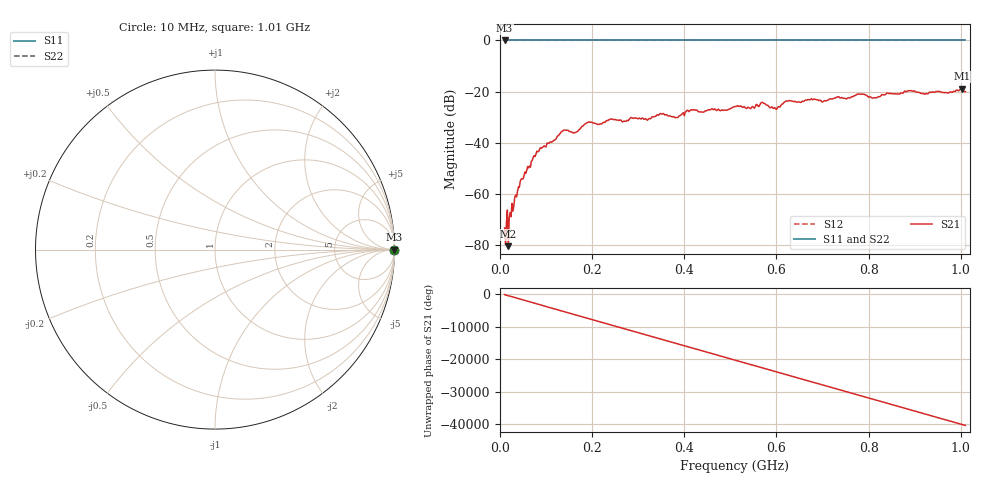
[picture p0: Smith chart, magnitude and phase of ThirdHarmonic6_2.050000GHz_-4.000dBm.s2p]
! 8/17/2025 12:34:28 AM
! C:\ANRITSUVNA\TEMP\TEMP.S2P
! CHANNEL.1
! TR.MEASUREMENT
! RAW.DATA
! RF.CORRECTION.OFF
! AVERAGING.OFF
! IF.BANDWIDTH: 5KHZ
! SWEEPTYPE:  FREQ.SWEEP(Linear)
! Reference Plane Port Info
! PORT:  PORT1  PORT2
! DISTANCE:  0  m  0  m
! TIME:  0  s  0  s
! PHASE.OFFSET:  0  deg.  0  deg.
! LOSS:  0  dB  0  dB
! REF.LOSS:  0  dB  0  dB
! REF.FREQ:  0  Hz  0  Hz
! Power Info
! POWER:  -20  dBm  -20  dBm
! EFF.POWER:  -20  dBm  -20  dBm
! SOURCE.ATTEN:  0  dB  0  dB
! TEST.ATTEN:  0  dB  0  dB
# GHZ S RI R 50.0
! FREQ.GHZ  S11RE  S11IM  S21RE  S21IM  S12RE  S12IM  S22RE  S22IM
!; PortSelection: Port_12
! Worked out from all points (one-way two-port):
!   501 points, 10 MHz to 1.01 GHz, reference 50 ohm
!   highest |S21| = -18.84 dB at 1.002 GHz (marker M1); lowest = -80.6 dB at 18 MHz (marker M2)
!   lowest |S11| = 0.0 dB at 10 MHz (marker M3)
!   |S11| at or under -10 dB: nowhere
!   |S22| runs from 0.0 to 0.0 dB; largest |S21 - S12| = 1.1
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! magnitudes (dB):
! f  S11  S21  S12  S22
! 10 MHz  0.0  -73.4  0.0  0.0
! 16 MHz  0.0  -66.4  0.0  0.0
! 18 MHz  0.0  -80.6  0.0  0.0
! 22 MHz  0.0  -67.4  0.0  0.0
! 24 MHz  0.0  -69.0  0.0  0.0
! 44 MHz  0.0  -55.2  0.0  0.0
! 84 MHz  0.0  -43.5  0.0  0.0
! 136 MHz  0.0  -35.5  0.0  0.0
! 162 MHz  0.0  -36.1  0.0  0.0
! 178 MHz  0.0  -33.7  0.0  0.0
! 344 MHz  0.0  -29.3  0.0  0.0
! 382 MHz  0.0  -30.2  0.0  0.0
! 418 MHz  0.0  -27.3  0.0  0.0
! 510 MHz  0.0  -25.9  0.0  0.0
! 570 MHz  0.0  -24.3  0.0  0.0
! 598 MHz  0.0  -26.8  0.0  0.0
! 624 MHz  0.0  -23.7  0.0  0.0
! 678 MHz  0.0  -23.2  0.0  0.0
! 812 MHz  0.0  -22.4  0.0  0.0
! 844 MHz  0.0  -20.8  0.0  0.0
! 1.002 GHz  0.0  -18.8  0.0  0.0
! 1.01 GHz  0.0  -20.0  0.0  0.0
